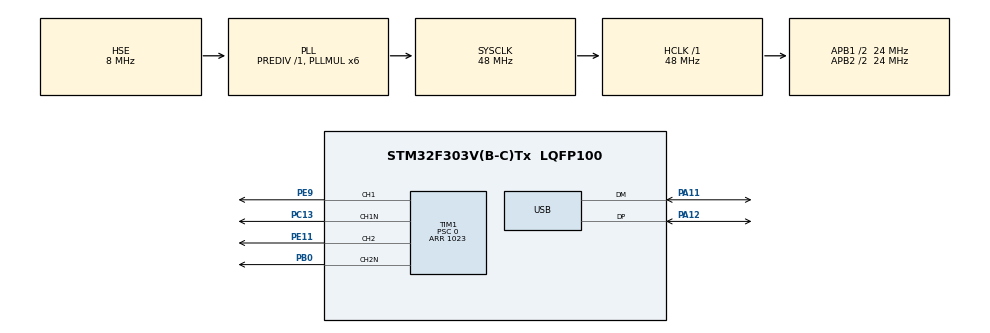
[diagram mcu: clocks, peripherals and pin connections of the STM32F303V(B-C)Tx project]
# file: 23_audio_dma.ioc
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Dma.Request0=TIM1_CH1
Dma.TIM1_CH1.0.Direction=DMA_MEMORY_TO_PERIPH
Dma.TIM1_CH1.0.Instance=DMA1_Channel2
Dma.TIM1_CH1.0.MemDataAlignment=DMA_MDATAALIGN_WORD
Dma.TIM1_CH1.0.MemInc=DMA_MINC_ENABLE
Dma.TIM1_CH1.0.Mode=DMA_NORMAL
Dma.TIM1_CH1.0.PeriphDataAlignment=DMA_PDATAALIGN_WORD
Dma.TIM1_CH1.0.PeriphInc=DMA_PINC_DISABLE
Dma.TIM1_CH1.0.Priority=DMA_PRIORITY_LOW
Mcu.Family=STM32F3
Mcu.Name=STM32F303V(B-C)Tx
Mcu.Package=LQFP100
NVIC.DMA1_Channel2_IRQn=true\:0\:0\:false\:false\:true\:false
NVIC.PriorityGroup=NVIC_PRIORITYGROUP_4
NVIC.TIM1_UP_TIM16_IRQn=true\:0\:0\:false\:false\:true\:true
NVIC.USB_LP_CAN_RX0_IRQn=true\:1\:0\:true\:false\:true\:false
PA11.Mode=Device
PA11.Signal=USB_DM
PA12.Mode=Device
PA12.Signal=USB_DP
PB0.GPIO_Speed=GPIO_SPEED_FREQ_LOW
PB0.Mode=PWM Generation2 CH2 CH2N
PB0.Signal=TIM1_CH2N
PC13.GPIO_Speed=GPIO_SPEED_FREQ_LOW
PC13.Mode=PWM Generation1 CH1 CH1N
PC13.Signal=TIM1_CH1N
PE11.GPIO_Speed=GPIO_SPEED_FREQ_LOW
PE11.Signal=S_TIM1_CH2
PE9.GPIO_Speed=GPIO_SPEED_FREQ_LOW
PE9.Signal=S_TIM1_CH1
PF0-OSC_IN.Mode=HSE-External-Oscillator
PF0-OSC_IN.Signal=RCC_OSC_IN
PF1-OSC_OUT.Mode=HSE-External-Oscillator
PF1-OSC_OUT.Signal=RCC_OSC_OUT
ProjectManager.HeapSize=0x200
ProjectManager.StackSize=0x400
ProjectManager.TargetToolchain=SW4STM32
RCC.AHBFreq_Value=48000000
RCC.APB1CLKDivider=RCC_HCLK_DIV2
RCC.APB1Freq_Value=24000000
RCC.APB1TimFreq_Value=48000000
RCC.APB2CLKDivider=RCC_HCLK_DIV2
RCC.APB2Freq_Value=24000000
RCC.APB2TimFreq_Value=48000000
RCC.CortexFreq_Value=48000000
RCC.HCLKFreq_Value=48000000
RCC.HSE_VALUE=8000000
RCC.HSI_VALUE=8000000
RCC.LSE_VALUE=32768
RCC.PLLMUL=RCC_PLL_MUL6
RCC.SYSCLKFreq_VALUE=48000000
RCC.SYSCLKSourceVirtual=RCC_SYSCLKSOURCE_PLLCLK
RCC.USBFreq_Value=48000000
SH.S_TIM1_CH1.0=TIM1_CH1,PWM Generation1 CH1 CH1N
SH.S_TIM1_CH2.0=TIM1_CH2,PWM Generation2 CH2 CH2N
TIM1.Channel-PWM\ Generation1\ CH1\ CH1N=TIM_CHANNEL_1
TIM1.Channel-PWM\ Generation2\ CH2\ CH2N=TIM_CHANNEL_2
TIM1.DeadTime=2
TIM1.OCMode_PWM-PWM\ Generation2\ CH2\ CH2N=TIM_OCMODE_PWM2
TIM1.OCNIdleState_1=TIM_OCNIDLESTATE_RESET
TIM1.OCNIdleState_2=TIM_OCNIDLESTATE_SET
TIM1.OCNPolarity_1=TIM_OCNPOLARITY_LOW
TIM1.OCNPolarity_2=TIM_OCNPOLARITY_LOW
TIM1.OCPolarity_2=TIM_OCPOLARITY_HIGH
TIM1.Period=1023
TIM1.Prescaler=0
TIM1.Pulse-PWM\ Generation1\ CH1\ CH1N=0
TIM1.Pulse-PWM\ Generation2\ CH2\ CH2N=0
USB_DEVICE.CLASS_NAME_FS=AUDIO
USB_DEVICE.USBD_AUDIO_FREQ=48000
USB_DEVICE.USBD_SELF_POWERED=0
USB_DEVICE.VirtualMode=Audio
USB_DEVICE.VirtualModeFS=Audio_FS
VP_TIM1_VS_ClockSourceINT.Mode=Internal
VP_USB_DEVICE_VS_USB_DEVICE_AUDIO_FS.Mode=AUDIO_FS
board=23_audio_dma

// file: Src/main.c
/**
  ******************************************************************************
  * @file           : main.c
  * @brief          : Main program body
  ******************************************************************************
  * This notice applies to any and all portions of this file
  * that are not between comment pairs USER CODE BEGIN and
  * USER CODE END. Other portions of this file, whether
  * inserted by the user or by software development tools
  * are owned by their respective copyright owners.
  *
  * Copyright (c) 2018 STMicroelectronics International N.V.
  * All rights reserved.
  *
  * Redistribution and use in source and binary forms, with or without
  * modification, are permitted, provided that the following conditions are met:
  *
  * 1. Redistribution of source code must retain the above copyright notice,
  *    this list of conditions and the following disclaimer.
  * 2. Redistributions in binary form must reproduce the above copyright notice,
  *    this list of conditions and the following disclaimer in the documentation
  *    and/or other materials provided with the distribution.
  * 3. Neither the name of STMicroelectronics nor the names of other
  *    contributors to this software may be used to endorse or promote products
  *    derived from this software without specific written permission.
  * 4. This software, including modifications and/or derivative works of this
  *    software, must execute solely and exclusively on microcontroller or
  *    microprocessor devices manufactured by or for STMicroelectronics.
  * 5. Redistribution and use of this software other than as permitted under
  *    this license is void and will automatically terminate your rights under
  *    this license.
  *
  * THIS SOFTWARE IS PROVIDED BY STMICROELECTRONICS AND CONTRIBUTORS "AS IS"
  * AND ANY EXPRESS, IMPLIED OR STATUTORY WARRANTIES, INCLUDING, BUT NOT
  * LIMITED TO, THE IMPLIED WARRANTIES OF MERCHANTABILITY, FITNESS FOR A
  * PARTICULAR PURPOSE AND NON-INFRINGEMENT OF THIRD PARTY INTELLECTUAL PROPERTY
  * RIGHTS ARE DISCLAIMED TO THE FULLEST EXTENT PERMITTED BY LAW. IN NO EVENT
  * SHALL STMICROELECTRONICS OR CONTRIBUTORS BE LIABLE FOR ANY DIRECT, INDIRECT,
  * INCIDENTAL, SPECIAL, EXEMPLARY, OR CONSEQUENTIAL DAMAGES (INCLUDING, BUT NOT
  * LIMITED TO, PROCUREMENT OF SUBSTITUTE GOODS OR SERVICES; LOSS OF USE, DATA,
  * OR PROFITS; OR BUSINESS INTERRUPTION) HOWEVER CAUSED AND ON ANY THEORY OF
  * LIABILITY, WHETHER IN CONTRACT, STRICT LIABILITY, OR TORT (INCLUDING
  * NEGLIGENCE OR OTHERWISE) ARISING IN ANY WAY OUT OF THE USE OF THIS SOFTWARE,
  * EVEN IF ADVISED OF THE POSSIBILITY OF SUCH DAMAGE.
  *
  ******************************************************************************
  */
#include "main.h"
#include "stm32f3xx_hal.h"
#include "usb_device.h"

TIM_HandleTypeDef htim1;
DMA_HandleTypeDef hdma_tim1_ch1;

/* USER CODE BEGIN PV */
/* Private variables ---------------------------------------------------------*/
#define AUDIO_OK   ((uint8_t)0)
#define AUDIODATA_SIZE 4

volatile uint16_t Duty = 0;
volatile uint16_t *BSP_audio_buffer;
volatile uint32_t BSP_audio_size;
volatile uint32_t BSP_audio_counter = 0;
/* USER CODE END PV */

void SystemClock_Config(void);
static void MX_GPIO_Init(void);
static void MX_DMA_Init(void);
static void MX_TIM1_Init(void);
void HAL_TIM_MspPostInit(TIM_HandleTypeDef *htim);

/* USER CODE BEGIN PFP */
/* Private function prototypes -----------------------------------------------*/
void BSP_audio_init();
void BSP_audio_deinit();
uint8_t BSP_audio_start(uint16_t* pBuffer, uint32_t Size);
uint8_t BSP_audio_play(uint16_t* pBuffer, uint32_t Size);

void BSP_audio_init()
{
//	HAL_TIM_PWM_Start(&htim1, TIM_CHANNEL_1);
//	HAL_TIMEx_PWMN_Start(&htim1, TIM_CHANNEL_1); // turn on complementary channel
//	HAL_TIM_PWM_Start(&htim1, TIM_CHANNEL_2);
//	HAL_TIMEx_PWMN_Start(&htim1, TIM_CHANNEL_2); // turn on complementary channel
//	HAL_TIM_Base_Start_IT(&htim6);

//	HAL_TIM_PWM_Start(&htim1, TIM_CHANNEL_1);
//	HAL_TIMEx_PWMN_Start(&htim1, TIM_CHANNEL_1); // turn on complementary channel
//	HAL_TIM_PWM_Start(&htim1, TIM_CHANNEL_2);
//	HAL_TIMEx_PWMN_Start(&htim1, TIM_CHANNEL_2); // turn on complementary channel
}

void BSP_audio_deinit()
{
//	HAL_TIM_PWM_Stop(&htim1, TIM_CHANNEL_1);
//	HAL_TIMEx_PWMN_Stop(&htim1, TIM_CHANNEL_1); // turn on complementary channel
//	HAL_TIM_PWM_Stop(&htim1, TIM_CHANNEL_2);
//	HAL_TIMEx_PWMN_Stop(&htim1, TIM_CHANNEL_2); // turn on complementary channel
//	HAL_TIM_Base_Stop_IT(&htim6);

	HAL_TIM_PWM_Stop(&htim1, TIM_CHANNEL_1);
	HAL_TIMEx_PWMN_Stop(&htim1, TIM_CHANNEL_1); // turn on complementary channel
	HAL_TIM_PWM_Stop(&htim1, TIM_CHANNEL_2);
	HAL_TIMEx_PWMN_Stop(&htim1, TIM_CHANNEL_2); // turn on complementary channel
}

uint8_t BSP_audio_start(uint16_t* pBuffer, uint32_t Size)
{
//	BSP_audio_buffer=pBuffer;
//	BSP_audio_size=Size;
//	BSP_audio_counter = 0;

	HAL_TIMEx_PWMN_Start_DMA(&htim1, TIM_CHANNEL_1, (uint32_t*)pBuffer, Size / AUDIODATA_SIZE);

	return AUDIO_OK;
}

uint8_t BSP_audio_play(uint16_t* pBuffer, uint32_t Size)
{
//	BSP_audio_buffer=pBuffer;
//	BSP_audio_size=Size;
//	BSP_audio_counter = 0;

	HAL_TIMEx_PWMN_Start_DMA(&htim1, TIM_CHANNEL_1, (uint32_t*)pBuffer, Size / AUDIODATA_SIZE);

	return AUDIO_OK;
}

//void HAL_TIM_PeriodElapsedCallback(TIM_HandleTypeDef *htim)
//{
//	if(htim->Instance == TIM6)
//	{
//		if((BSP_audio_counter+1)<BSP_audio_size)
//		{
//			//TIM1->CCR1 = BSP_audio_buffer[BSP_audio_counter];
//			//TIM1->CCR2 = BSP_audio_buffer[BSP_audio_counter+1];
//			//Duty = BSP_audio_buffer[BSP_audio_counter]>>4; // Conversion 16-bit to 12-bit
//			Duty = BSP_audio_buffer[BSP_audio_counter];
//			BSP_audio_counter+=2;
//			if(BSP_audio_counter == BSP_audio_size/2) USBD_AUDIO_Sync(&hUsbDeviceFS, AUDIO_OFFSET_HALF);
//			if(BSP_audio_counter >= BSP_audio_size) USBD_AUDIO_Sync(&hUsbDeviceFS, AUDIO_OFFSET_FULL);
//	}
//}
/* USER CODE END PFP */

int main(void)
{

  /* MCU Configuration----------------------------------------------------------*/

  /* Reset of all peripherals, Initializes the Flash interface and the Systick. */
  HAL_Init();

  /* Configure the system clock */
  SystemClock_Config();

  /* Initialize all configured peripherals */
  MX_GPIO_Init();
  MX_DMA_Init();
  MX_TIM1_Init();
  MX_USB_DEVICE_Init();

  /* Infinite loop */
  while (1)
  {

  }

}

void SystemClock_Config(void)
{

  RCC_OscInitTypeDef RCC_OscInitStruct;
  RCC_ClkInitTypeDef RCC_ClkInitStruct;
  RCC_PeriphCLKInitTypeDef PeriphClkInit;

    /**Initializes the CPU, AHB and APB busses clocks
    */
  RCC_OscInitStruct.OscillatorType = RCC_OSCILLATORTYPE_HSE;
  RCC_OscInitStruct.HSEState = RCC_HSE_ON;
  RCC_OscInitStruct.HSEPredivValue = RCC_HSE_PREDIV_DIV1;
  RCC_OscInitStruct.HSIState = RCC_HSI_ON;
  RCC_OscInitStruct.PLL.PLLState = RCC_PLL_ON;
  RCC_OscInitStruct.PLL.PLLSource = RCC_PLLSOURCE_HSE;
  RCC_OscInitStruct.PLL.PLLMUL = RCC_PLL_MUL6;
  if (HAL_RCC_OscConfig(&RCC_OscInitStruct) != HAL_OK)
  {
    _Error_Handler(__FILE__, __LINE__);
  }

    /**Initializes the CPU, AHB and APB busses clocks
    */
  RCC_ClkInitStruct.ClockType = RCC_CLOCKTYPE_HCLK|RCC_CLOCKTYPE_SYSCLK
                              |RCC_CLOCKTYPE_PCLK1|RCC_CLOCKTYPE_PCLK2;
  RCC_ClkInitStruct.SYSCLKSource = RCC_SYSCLKSOURCE_PLLCLK;
  RCC_ClkInitStruct.AHBCLKDivider = RCC_SYSCLK_DIV1;
  RCC_ClkInitStruct.APB1CLKDivider = RCC_HCLK_DIV2;
  RCC_ClkInitStruct.APB2CLKDivider = RCC_HCLK_DIV2;

  if (HAL_RCC_ClockConfig(&RCC_ClkInitStruct, FLASH_LATENCY_1) != HAL_OK)
  {
    _Error_Handler(__FILE__, __LINE__);
  }

  PeriphClkInit.PeriphClockSelection = RCC_PERIPHCLK_USB|RCC_PERIPHCLK_TIM1;
  PeriphClkInit.USBClockSelection = RCC_USBCLKSOURCE_PLL;
  PeriphClkInit.Tim1ClockSelection = RCC_TIM1CLK_HCLK;
  if (HAL_RCCEx_PeriphCLKConfig(&PeriphClkInit) != HAL_OK)
  {
    _Error_Handler(__FILE__, __LINE__);
  }

    /**Configure the Systick interrupt time
    */
  HAL_SYSTICK_Config(HAL_RCC_GetHCLKFreq()/1000);

    /**Configure the Systick
    */
  HAL_SYSTICK_CLKSourceConfig(SYSTICK_CLKSOURCE_HCLK);

  /* SysTick_IRQn interrupt configuration */
  HAL_NVIC_SetPriority(SysTick_IRQn, 0, 0);
}

/* TIM1 init function */
static void MX_TIM1_Init(void)
{

  TIM_ClockConfigTypeDef sClockSourceConfig;
  TIM_MasterConfigTypeDef sMasterConfig;
  TIM_OC_InitTypeDef sConfigOC;
  TIM_BreakDeadTimeConfigTypeDef sBreakDeadTimeConfig;

  htim1.Instance = TIM1;
  htim1.Init.Prescaler = 0;
  htim1.Init.CounterMode = TIM_COUNTERMODE_UP;
  htim1.Init.Period = 1023;
  htim1.Init.ClockDivision = TIM_CLOCKDIVISION_DIV1;
  htim1.Init.RepetitionCounter = 0;
  htim1.Init.AutoReloadPreload = TIM_AUTORELOAD_PRELOAD_DISABLE;
  if (HAL_TIM_Base_Init(&htim1) != HAL_OK)
  {
    _Error_Handler(__FILE__, __LINE__);
  }

  sClockSourceConfig.ClockSource = TIM_CLOCKSOURCE_INTERNAL;
  if (HAL_TIM_ConfigClockSource(&htim1, &sClockSourceConfig) != HAL_OK)
  {
    _Error_Handler(__FILE__, __LINE__);
  }

  if (HAL_TIM_PWM_Init(&htim1) != HAL_OK)
  {
    _Error_Handler(__FILE__, __LINE__);
  }

  sMasterConfig.MasterOutputTrigger = TIM_TRGO_RESET;
  sMasterConfig.MasterOutputTrigger2 = TIM_TRGO2_RESET;
  sMasterConfig.MasterSlaveMode = TIM_MASTERSLAVEMODE_DISABLE;
  if (HAL_TIMEx_MasterConfigSynchronization(&htim1, &sMasterConfig) != HAL_OK)
  {
    _Error_Handler(__FILE__, __LINE__);
  }

  sConfigOC.OCMode = TIM_OCMODE_PWM1;
  sConfigOC.Pulse = 0;
  sConfigOC.OCPolarity = TIM_OCPOLARITY_HIGH;
  sConfigOC.OCNPolarity = TIM_OCNPOLARITY_LOW;
  sConfigOC.OCFastMode = TIM_OCFAST_DISABLE;
  sConfigOC.OCIdleState = TIM_OCIDLESTATE_RESET;
  sConfigOC.OCNIdleState = TIM_OCNIDLESTATE_RESET;
  if (HAL_TIM_PWM_ConfigChannel(&htim1, &sConfigOC, TIM_CHANNEL_1) != HAL_OK)
  {
    _Error_Handler(__FILE__, __LINE__);
  }

  sConfigOC.OCMode = TIM_OCMODE_PWM2;
  sConfigOC.OCNIdleState = TIM_OCNIDLESTATE_SET;
  if (HAL_TIM_PWM_ConfigChannel(&htim1, &sConfigOC, TIM_CHANNEL_2) != HAL_OK)
  {
    _Error_Handler(__FILE__, __LINE__);
  }

  sBreakDeadTimeConfig.OffStateRunMode = TIM_OSSR_DISABLE;
  sBreakDeadTimeConfig.OffStateIDLEMode = TIM_OSSI_DISABLE;
  sBreakDeadTimeConfig.LockLevel = TIM_LOCKLEVEL_OFF;
  sBreakDeadTimeConfig.DeadTime = 2;
  sBreakDeadTimeConfig.BreakState = TIM_BREAK_DISABLE;
  sBreakDeadTimeConfig.BreakPolarity = TIM_BREAKPOLARITY_HIGH;
  sBreakDeadTimeConfig.BreakFilter = 0;
  sBreakDeadTimeConfig.Break2State = TIM_BREAK2_DISABLE;
  sBreakDeadTimeConfig.Break2Polarity = TIM_BREAK2POLARITY_HIGH;
  sBreakDeadTimeConfig.Break2Filter = 0;
  sBreakDeadTimeConfig.AutomaticOutput = TIM_AUTOMATICOUTPUT_DISABLE;
  if (HAL_TIMEx_ConfigBreakDeadTime(&htim1, &sBreakDeadTimeConfig) != HAL_OK)
  {
    _Error_Handler(__FILE__, __LINE__);
  }

  HAL_TIM_MspPostInit(&htim1);

}

static void MX_DMA_Init(void)
{
  /* DMA controller clock enable */
  __HAL_RCC_DMA1_CLK_ENABLE();

  /* DMA interrupt init */
  /* DMA1_Channel2_IRQn interrupt configuration */
  HAL_NVIC_SetPriority(DMA1_Channel2_IRQn, 0, 0);
  HAL_NVIC_EnableIRQ(DMA1_Channel2_IRQn);

}

/** Configure pins as
        * Analog
        * Input
        * Output
        * EVENT_OUT
        * EXTI
*/
static void MX_GPIO_Init(void)
{

  /* GPIO Ports Clock Enable */
  __HAL_RCC_GPIOC_CLK_ENABLE();
  __HAL_RCC_GPIOF_CLK_ENABLE();
  __HAL_RCC_GPIOB_CLK_ENABLE();
  __HAL_RCC_GPIOE_CLK_ENABLE();
  __HAL_RCC_GPIOA_CLK_ENABLE();

}

void _Error_Handler(char *file, int line)
{
  while(1)
  {
  }
}

/************************ (C) COPYRIGHT STMicroelectronics *****END OF FILE****/
